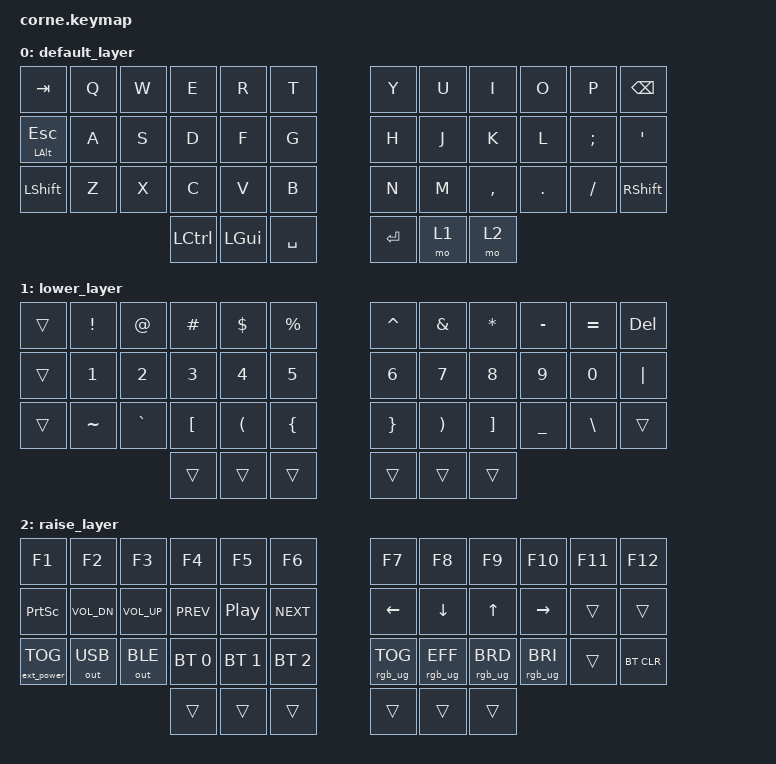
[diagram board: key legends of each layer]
/*
 * Copyright (c) 2020 The ZMK Contributors
 *
 * SPDX-License-Identifier: MIT
 */
#include <behaviors.dtsi>
#include <dt-bindings/zmk/keys.h>
#include <dt-bindings/zmk/bt.h>
#include <dt-bindings/zmk/rgb.h>
#include <dt-bindings/zmk/ext_power.h>
#include <dt-bindings/zmk/outputs.h>
#include <dt-bindings/led/led.h>

&led_strip {
    chain-length = <6>;
};

/ {

    behaviors {
        esc_alt: tap_dance_esc_alt {
            compatible = "zmk,behavior-hold-tap";
            label = "ESC_ALT";
            #binding-cells = <2>;
            flavor = "tap-preferred";
            tapping-term-ms = <200>;
            quick-tap-ms = <125>;
            bindings = <&kp>, <&kp>;
        };
    };

    keymap {
        compatible = "zmk,keymap";

        // -----------------------------------------------------------------------------------------
        // DEFAULT
        // ----------------------------------------------------------------------------------------
        // | TAB  |  Q  |  W  |  E  |  R  |  T  |   |  Y  |  U   |  I  |  O  |  P  | BSPC |
        // |ESC/ALT| A  |  S  |  D  |  F  |  G  |   |  H  |  J   |  K  |  L  |  ;  |  '   |
        // | SHFT |  Z  |  X  |  C  |  V  |  B  |   |  N  |  M   |  ,  |  .  |  /  | SHFT |
        //                    |CTRL | HYP | SPC |   | ENT | LWR  | RSE |
        // -----------------------------------------------------------------------------------------
        default_layer {
            bindings = <
                 &kp TAB           &kp Q      &kp W      &kp E      &kp R      &kp T        &kp Y      &kp U      &kp I      &kp O      &kp P      &kp BSPC
                 &esc_alt LALT ESC &kp A      &kp S      &kp D      &kp F      &kp G        &kp H      &kp J      &kp K      &kp L      &kp SEMI   &kp SQT
                 &kp LSHFT         &kp Z      &kp X      &kp C      &kp V      &kp B        &kp N      &kp M      &kp COMMA  &kp DOT    &kp FSLH   &kp RSHFT
                                     &kp LCTRL      &kp LGUI      &kp SPACE        &kp RET      &mo 1      &mo 2
            >;
        };

        // -----------------------------------------------------------------------------------------
        // MOD 1 : LOWER
        // -----------------------------------------------------------------------------------------
        // |      |  !  |  @  |  #  |  $  |  %  |   |  ^  |  &  |  *  |  -  |  =  | DEL  |
        // |      |  1  |  2  |  3  |  4  |  5  |   |  6  |  7  |  8  |  9  |  0  | '|'  |
        // |      |  ~  |  `  |  [  |  (  |  {  |   |  }  |  )  |  ]  |  _  |  \  |      |
        //                    |     |     |     |   |     |     |     |
        // -----------------------------------------------------------------------------------------
        lower_layer {
            bindings = <
                 &trans       &kp EXCL    &kp AT      &kp HASH    &kp DLLR   &kp PRCNT      &kp CARET     &kp AMPS    &kp STAR    &kp MINUS   &kp EQUAL    &kp DEL
                 &trans       &kp N1      &kp N2      &kp N3      &kp N4     &kp N5         &kp N6        &kp N7      &kp N8      &kp N9      &kp N0       &kp PIPE
                 &trans       &kp TILDE   &kp GRAVE   &kp LBKT    &kp LPAR   &kp LBRC       &kp RBRC      &kp RPAR    &kp RBKT    &kp UNDER   &kp BSLH     &trans
                                &trans      &trans      &trans        &trans       &trans        &trans
            >;
        };

        // -----------------------------------------------------------------------------------------
        // MOD 2 : RAISE 
        // -----------------------------------------------------------------------------------------
        // |  F1  |  F2 |  F3 |  F4 |  F5 |  F6 |   |  F7 |  F8 |  F9 | F10 | F11 | F12  |
        // |PSCRN |VOL- |VOL+ |PREV |PLAY |NEXT |   | LFT | DWN |  UP | RGT |     |      |
        // | EXT_PWR | OUT_USB | OUT_BT | BT0 | BT1 | BT2 | RGB_TOG | RGB_EFF | RGB_BRD | RGB_BRI |     | BTCLR|
        //                    |     |     |     |   |     |     |     |
        // -----------------------------------------------------------------------------------------
        raise_layer {
            bindings = <
                 &kp F1                  &kp F2          &kp F3          &kp F4          &kp F5          &kp F6             &kp F7              &kp F8          &kp F9          &kp F10         &kp F11         &kp F12
                 &kp PSCRN               &kp C_VOL_DN    &kp C_VOL_UP    &kp C_PREV      &kp C_PP        &kp C_NEXT         &kp LEFT            &kp DOWN        &kp UP          &kp RIGHT       &trans          &trans
                 &ext_power EP_TOG       &out OUT_USB    &out OUT_BLE    &bt BT_SEL 0    &bt BT_SEL 1    &bt BT_SEL 2       &rgb_ug RGB_TOG     &rgb_ug RGB_EFF &rgb_ug RGB_BRD &rgb_ug RGB_BRI &trans          &bt BT_CLR
                                           &trans            &trans          &trans             &trans              &trans          &trans
                >;
            };
        };
    };
